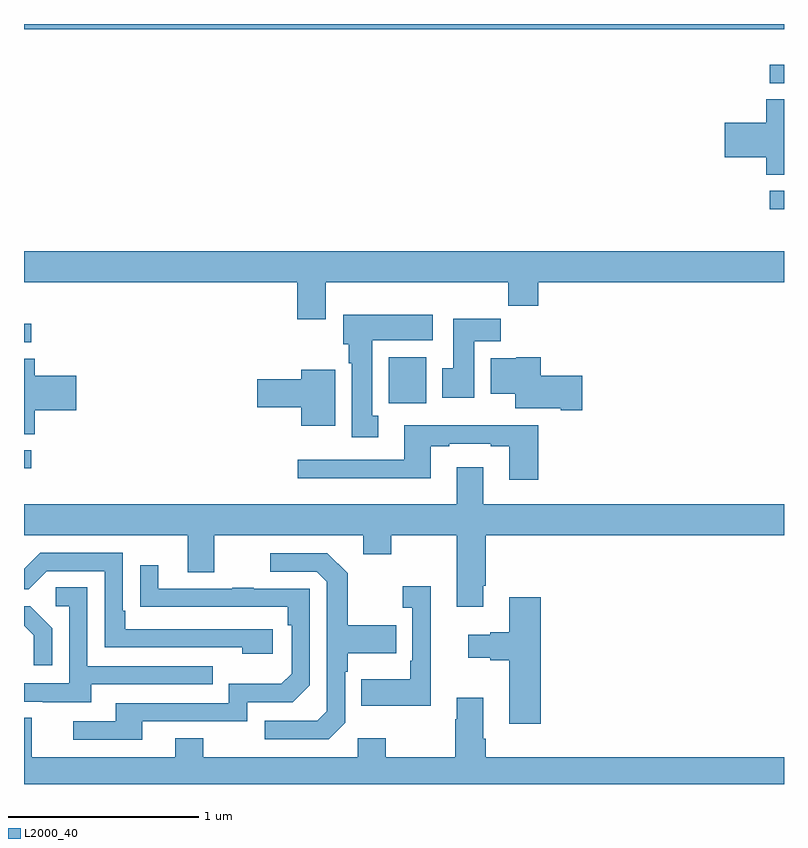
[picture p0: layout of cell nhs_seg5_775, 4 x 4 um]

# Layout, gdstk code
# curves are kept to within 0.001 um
import gdstk
lib = gdstk.Library(unit=1e-6, precision=1e-09)
def R(c, l, rs):  # rectangles x0, y0, x1, y1
    for r in rs: c.add(gdstk.rectangle(r[:2], r[2:], *l))
def P(c, l, *ps):  # polygons
    for p in ps: c.add(gdstk.Polygon(p, *l))
L2000_40 = (2000, 40)

nhs_seg5_775 = lib.new_cell('nhs_seg5_775')
R(nhs_seg5_775, L2000_40, [(161,842.46,161.038,842.556), (162.92,842.804,163.117,843.046), (161,843.123,161.038,843.222), (164.925,843.823,165,843.921), (164.925,844.488,165,844.584), (161,844.772,165,844.799)])
P(nhs_seg5_775, L2000_40, [(165,844.403),(164.906,844.403),(164.906,844.28),(164.688,844.28),(164.688,844.097),(164.906,844.097),(164.906,844.006),(165,844.006)],
  [(162.589,843.44),(163.549,843.44),(163.549,843.316),(163.706,843.316),(163.706,843.44),(165,843.44),(165,843.604),(161,843.604),(161,843.44),(162.437,843.44),(162.437,843.246),(162.589,843.246)],
  [(162.865,842.738),(162.832,842.738),(162.832,843.134),(163.15,843.134),(163.15,843.268),(162.68,843.268),(162.68,843.114),(162.71,843.114),(162.71,843.014),(162.725,843.014),(162.725,842.625),(162.865,842.625)],
  [(163.369,843.128),(163.508,843.128),(163.508,843.247),(163.259,843.247),(163.259,842.988),(163.202,842.988),(163.202,842.832),(163.369,842.832)],
  [(163.939,842.948),(163.721,842.948),(163.721,843.046),(163.59,843.046),(163.59,843.04),(163.457,843.04),(163.457,842.852),(163.586,842.852),(163.586,842.777),(163.826,842.777),(163.826,842.765),(163.939,842.765)],
  [(161.057,842.765),(161.275,842.765),(161.275,842.948),(161.057,842.948),(161.057,843.038),(161,843.038),(161,842.641),(161.057,842.641)],
  [(162.637,842.98),(162.458,842.98),(162.458,842.93),(162.228,842.93),(162.228,842.783),(162.458,842.783),(162.458,842.684),(162.637,842.684)],
  [(163.706,842.686),(163.001,842.686),(163.001,842.505),(162.441,842.505),(162.441,842.408),(163.141,842.408),(163.141,842.577),(163.237,842.577),(163.237,842.589),(163.457,842.589),(163.457,842.577),(163.553,842.577),(163.553,842.4),(163.706,842.4)],
  [(163.417,841.843),(163.43,841.843),(163.43,842.108),(165,842.108),(165,842.272),(163.417,842.272),(163.417,842.467),(163.277,842.467),(163.277,842.272),(161,842.272),(161,842.108),(161.861,842.108),(161.861,841.914),(162.001,841.914),(162.001,842.108),(162.785,842.108),(162.785,842.009),(162.933,842.009),(162.933,842.108),(163.277,842.108),(163.277,841.731),(163.417,841.731)],
  [(162.31,841.614),(161.533,841.614),(161.533,841.711),(161.52,841.711),(161.52,842.016),(161.085,842.016),(161,841.931),(161,841.824),(161.025,841.824),(161.121,841.92),(161.424,841.92),(161.424,841.518),(162.149,841.518),(162.149,841.484),(162.31,841.484)],
  [(162.69,841.122),(162.69,841.391),(162.703,841.391),(162.703,841.487),(162.959,841.487),(162.959,841.635),(162.703,841.635),(162.703,841.907),(162.597,842.013),(162.297,842.013),(162.297,841.917),(162.54,841.917),(162.594,841.863),(162.594,841.182),(162.543,841.131),(162.267,841.131),(162.267,841.035),(162.603,841.035)],
  [(161.623,841.128),(162.174,841.128),(162.174,841.23),(162.414,841.23),(162.504,841.32),(162.504,841.827),(162.209,841.827),(162.209,841.832),(162.097,841.832),(162.097,841.827),(161.707,841.827),(161.707,841.951),(161.611,841.951),(161.611,841.732),(162.388,841.731),(162.388,841.634),(162.408,841.634),(162.408,841.38),(162.355,841.327),(162.078,841.327),(162.078,841.224),(161.483,841.224),(161.483,841.128),(161.259,841.128),(161.259,841.032),(161.623,841.032)],
  [(163.142,841.84),(162.993,841.84),(162.993,841.727),(163.044,841.727),(163.044,841.447),(163.032,841.447),(163.032,841.351),(162.775,841.351),(162.775,841.211),(163.142,841.211)],
  [(161.353,841.323),(161.993,841.323),(161.993,841.419),(161.334,841.419),(161.334,841.835),(161.166,841.835),(161.166,841.734),(161.238,841.734),(161.238,841.329),(161,841.329),(161,841.233),(161.099,841.233),(161.099,841.229),(161.353,841.229)],
  [(163.721,841.783),(163.553,841.783),(163.553,841.598),(163.454,841.598),(163.454,841.585),(163.338,841.585),(163.338,841.463),(163.454,841.463),(163.454,841.451),(163.553,841.451),(163.553,841.116),(163.721,841.116)],
  [(161.148,841.618),(161.032,841.734),(161,841.734),(161,841.632),(161.051,841.581),(161.051,841.425),(161.148,841.425)],
  [(165,840.94),(163.43,840.94),(163.43,841.036),(163.417,841.036),(163.417,841.252),(163.277,841.252),(163.277,841.139),(163.27,841.139),(163.27,840.94),(162.903,840.94),(162.903,841.039),(162.756,841.039),(162.756,840.94),(161.943,840.94),(161.943,841.039),(161.795,841.039),(161.795,840.94),(161.041,840.94),(161.041,841.148),(161,841.148),(161,840.799),(165,840.799)])

lib.write_gds('nhs_seg5_775.gds')
